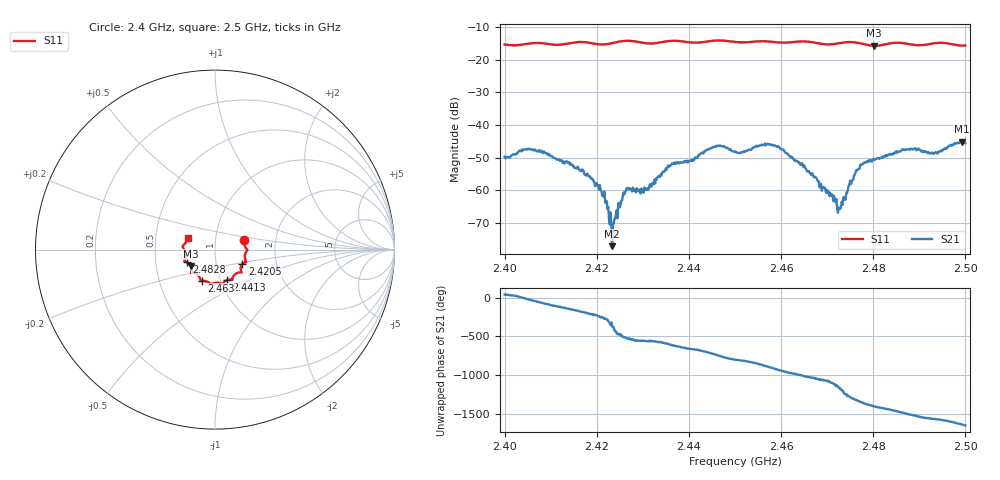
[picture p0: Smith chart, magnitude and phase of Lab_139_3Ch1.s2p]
# Hz S RI R 50
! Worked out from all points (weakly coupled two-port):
!   601 points, 2.4 GHz to 2.5 GHz, reference 50 ohm
!   highest |S21| = -45.12 dB at 2.4992 GHz (marker M1); lowest = -77.1 dB at 2.4233 GHz (marker M2)
!   lowest |S11| = -15.7 dB at 2.4802 GHz (marker M3), VSWR 1.39, Z = 37.5 - j6.99 ohm
!   |S11| at or under -10 dB: start of sweep to end of sweep
!   S12 and S22 are empty: the file has one direction only
!   S11 on the Smith chart (normalised r, x): 2.4 GHz: 1.38, +0.15; 2.4205 GHz: 1.34, -0.22; 2.4413 GHz: 1.08, -0.38; 2.463 GHz: 0.82, -0.29; 2.4828 GHz: 0.72, -0.10; 2.5 GHz: 0.73, +0.10
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2.4e9  0.1627 0.0523  0.00256 0.00205  0 0  0 0
2.405667e9  0.1783 0.00197  0.00364 -0.00219  0 0  0 0
2.416667e9  0.1735 -0.0696  -0.00209 5.03e-05  0 0  0 0
2.4205e9  0.1521 -0.0809  -0.000506 0.000889  0 0  0 0
2.423333e9  0.1431 -0.108  0.000138 -2.42e-05  0 0  0 0
2.426333e9  0.1483 -0.1265  -0.000924 -0.000352  0 0  0 0
2.430667e9  0.1215 -0.1317  -0.000959 0.000343  0 0  0 0
2.433333e9  0.1003 -0.1515  -0.00134 0.000955  0 0  0 0
2.441333e9  0.0675 -0.1697  0.00204 0.00248  0 0  0 0
2.446333e9  0.0413 -0.193  0.00425 -0.00218  0 0  0 0
2.45e9  0.0248 -0.1857  0.000613 -0.00381  0 0  0 0
2.4575e9  -0.0277 -0.1875  -0.00509 -0.000186  0 0  0 0
2.463e9  -0.0721 -0.1736  -0.000277 0.00291  0 0  0 0
2.466667e9  -0.0816 -0.1672  0.0013 0.00128  0 0  0 0
2.472667e9  -0.1237 -0.13  -1.53e-05 -0.000518  0 0  0 0
2.476667e9  -0.1318 -0.1253  -0.000753 0.00197  0 0  0 0
2.480167e9  -0.136 -0.0908  0.00232 0.00174  0 0  0 0
2.482833e9  -0.1585 -0.0703  0.00334 0.000142  0 0  0 0
2.483333e9  -0.1624 -0.0683  0.00352 -3.01e-05  0 0  0 0
2.4935e9  -0.1794 0.0126  -0.0023 -0.00307  0 0  0 0
2.499167e9  -0.1562 0.0521  -0.00538 0.00136  0 0  0 0
2.5e9  -0.1521 0.0638  -0.00463 0.00256  0 0  0 0
